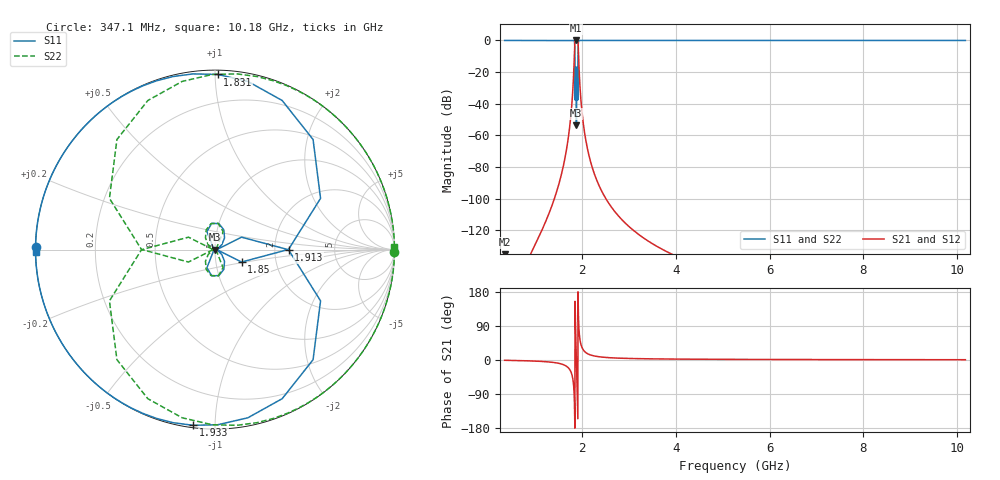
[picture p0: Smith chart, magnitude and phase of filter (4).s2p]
! rf-tools.com
! Date: Thu Jan 30 2020 11:06:29 GMT+0000 (格林尼治标准时间)
# Hz S DB R 50.00
!Frequency  S11 dB  S11 Deg  S21 dB  S21 Deg  S12 dB  S12 Deg  S22 dB  S22 Deg
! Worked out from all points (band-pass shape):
!   2000 points, 347.1 MHz to 10.18 GHz, reference 50 ohm
!   highest |S21| = 0.00 dB at 1.878 GHz (marker M1); lowest = -176.1 dB at 347.1 MHz (marker M2)
!   |S21| within 3 dB of the highest: 1.843 GHz to 1.917 GHz (74.57 MHz wide, 3.97 % of centre)
!   lowest |S11| = -53.7 dB at 1.878 GHz (marker M3), VSWR 1.00, Z = 50.2 + j0.0258 ohm
!   |S11| at or under -10 dB: 1.848 GHz to 1.913 GHz (64.93 MHz wide, 3.45 % of centre)
!   |S22| runs from -53.7 to 0.0 dB; largest |S21 - S12| = 0
!   S11 on the Smith chart (normalised r, x): 347.1 MHz: -0.00, +0.01; 1.831 GHz: 0.02, +1.02; 1.85 GHz: 1.33, -0.19; 1.913 GHz: 2.39, -0.00; 1.933 GHz: 0.01, -0.88; 10.18 GHz: -0.00, -0.01
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3.47119e8  0.00 179.2  -176.14 -0.8  -176.14 -0.8  0.00 -0.8
1.586121e9  -0.00 168.4  -81.25 -11.6  -81.25 -11.6  -0.00 -11.6
1.660176e9  -0.00 164.1  -70.25 -15.9  -70.25 -15.9  -0.00 -15.9
1.740628e9  -0.00 154.0  -53.33 -26.0  -53.33 -26.0  -0.00 -26.0
1.791364e9  -0.00 137.4  -36.55 -42.6  -36.55 -42.6  -0.00 -42.6
1.815749e9  -0.02 117.7  -24.26 -62.3  -24.26 -62.3  -0.02 -62.3
1.831157e9  -0.21 89.1  -13.23 -90.9  -13.23 -90.9  -0.21 -90.9
1.849821e9  -15.74 -25.1  -0.12 154.9  -0.12 154.9  -15.74 154.9
1.878173e9  -53.73 7.2  -0.00 7.2  -0.00 7.2  -53.73 -172.8
1.913416e9  -7.75 -0.1  -0.80 179.9  -0.80 179.9  -7.75 179.9
1.932918e9  -0.12 -97.1  -15.75 82.9  -15.75 82.9  -0.12 82.9
1.952618e9  -0.01 -124.3  -27.80 55.7  -27.80 55.7  -0.01 55.7
1.985899e9  -0.00 -143.0  -41.31 37.0  -41.31 37.0  -0.00 37.0
2.033448e9  -0.00 -154.6  -54.11 25.4  -54.11 25.4  -0.00 25.4
2.092719e9  -0.00 -161.6  -65.10 18.4  -65.10 18.4  -0.00 18.4
2.179349e9  -0.00 -166.7  -76.38 13.3  -76.38 13.3  -0.00 13.3
2.235304e9  -0.00 -168.7  -81.95 11.3  -81.95 11.3  -0.00 11.3
3.624583e9  -0.00 -177.2  -130.58 2.8  -130.58 2.8  -0.00 2.8
5.26587e9  -0.00 -178.4  -149.71 1.6  -149.71 1.6  -0.00 1.6
6.91262e9  0.00 -178.8  -161.23 1.2  -161.23 1.2  -0.00 1.2
8.55314e9  -0.00 -179.1  -169.58 0.9  -169.58 0.9  0.00 0.9
1.01795e10  0.00 -179.2  -176.14 0.8  -176.14 0.8  0.00 0.8
